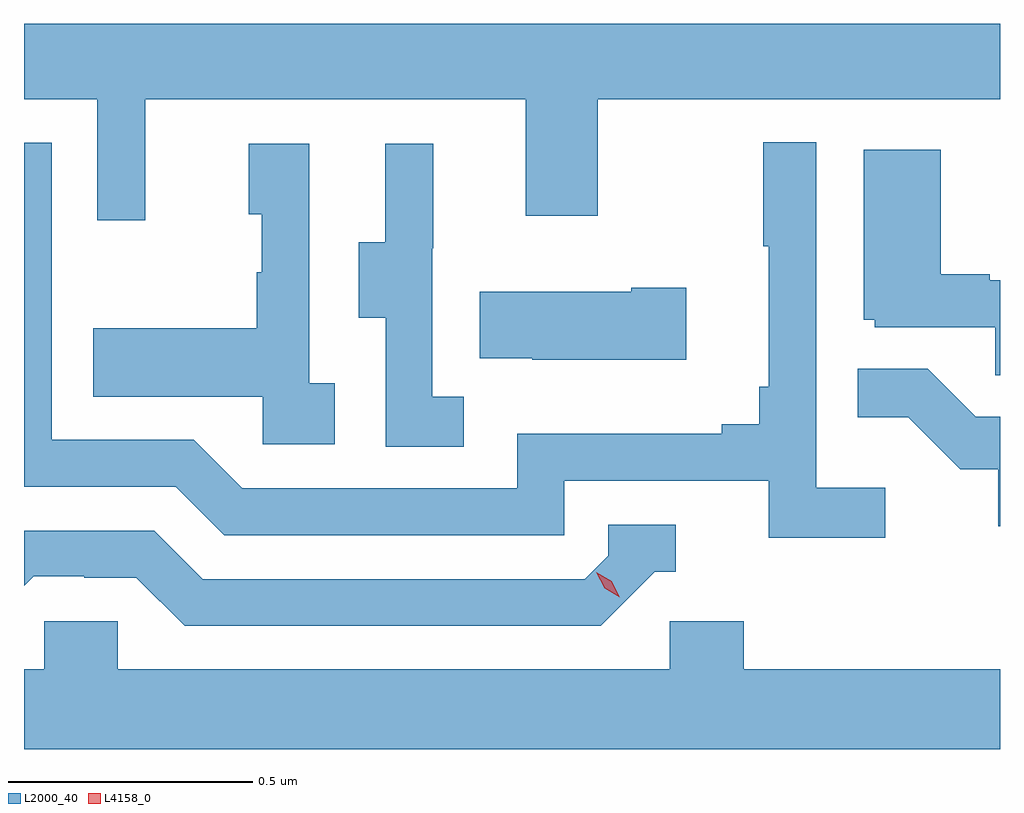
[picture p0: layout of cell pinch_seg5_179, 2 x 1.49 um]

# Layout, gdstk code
import gdstk
lib = gdstk.Library(unit=1e-6, precision=1e-09)
def P(c, l, *ps):  # polygons
    for p in ps: c.add(gdstk.Polygon(p, *l))
L2000_40 = (2000, 40)
L4158_0 = (4158, 0)

pinch_seg5_179 = lib.new_cell('pinch_seg5_179')
P(pinch_seg5_179, L2000_40, [(1116.029,878.072),(1116.809,878.072),(1116.809,877.833),(1116.957,877.833),(1116.957,878.072),(1117.781,878.072),(1117.781,878.227),(1115.781,878.227),(1115.781,878.072),(1115.931,878.072),(1115.931,877.824),(1116.029,877.824)],
  [(1117.546,877.276),(1117.404,877.276),(1117.404,877.984),(1117.296,877.984),(1117.296,877.771),(1117.307,877.771),(1117.307,877.483),(1117.288,877.483),(1117.288,877.406),(1117.211,877.406),(1117.211,877.387),(1116.792,877.387),(1116.792,877.275),(1116.228,877.275),(1116.129,877.374),(1115.838,877.374),(1115.838,877.983),(1115.781,877.983),(1115.781,877.278),(1116.092,877.278),(1116.191,877.179),(1116.888,877.179),(1116.888,877.29),(1117.307,877.29),(1117.307,877.174),(1117.546,877.174)],
  [(1116.682,877.463),(1116.618,877.463),(1116.618,877.767),(1116.62,877.767),(1116.62,877.981),(1116.521,877.981),(1116.521,877.779),(1116.467,877.779),(1116.467,877.624),(1116.522,877.624),(1116.522,877.36),(1116.682,877.36)],
  [(1116.418,877.49),(1116.366,877.49),(1116.366,877.981),(1116.242,877.981),(1116.242,877.836),(1116.268,877.836),(1116.268,877.718),(1116.258,877.718),(1116.258,877.603),(1115.923,877.603),(1115.923,877.463),(1116.27,877.463),(1116.27,877.365),(1116.418,877.365)],
  [(1117.781,877.701),(1117.76,877.701),(1117.76,877.714),(1117.66,877.714),(1117.66,877.969),(1117.502,877.969),(1117.502,877.62),(1117.524,877.62),(1117.524,877.605),(1117.771,877.605),(1117.771,877.507),(1117.781,877.507)],
  [(1117.138,877.686),(1117.025,877.686),(1117.025,877.678),(1116.715,877.678),(1116.715,877.541),(1116.823,877.541),(1116.823,877.538),(1117.138,877.538)],
  [(1117.781,877.422),(1117.731,877.422),(1117.633,877.52),(1117.489,877.52),(1117.489,877.421),(1117.593,877.421),(1117.7,877.314),(1117.777,877.314),(1117.777,877.197),(1117.781,877.197)],
  [(1117.074,877.104),(1117.117,877.104),(1117.117,877.2),(1116.978,877.2),(1116.978,877.137),(1116.93,877.089),(1116.147,877.089),(1116.048,877.188),(1115.781,877.188),(1115.781,877.075),(1115.801,877.095),(1115.904,877.095),(1115.904,877.092),(1116.011,877.092),(1116.11,876.993),(1116.963,876.993)],
  [(1117.781,876.904),(1117.256,876.904),(1117.256,877.002),(1117.104,877.002),(1117.104,876.904),(1115.973,876.904),(1115.973,877.002),(1115.823,877.002),(1115.823,876.904),(1115.781,876.904),(1115.781,876.74),(1117.781,876.74)])
P(pinch_seg5_179, L4158_0, [(1117.002,877.052),(1116.971,877.07),(1116.954,877.103),(1116.954,877.103),(1116.954,877.103),(1116.985,877.084),(1117.002,877.052),(1117.002,877.052)])

lib.write_gds('pinch_seg5_179.gds')
